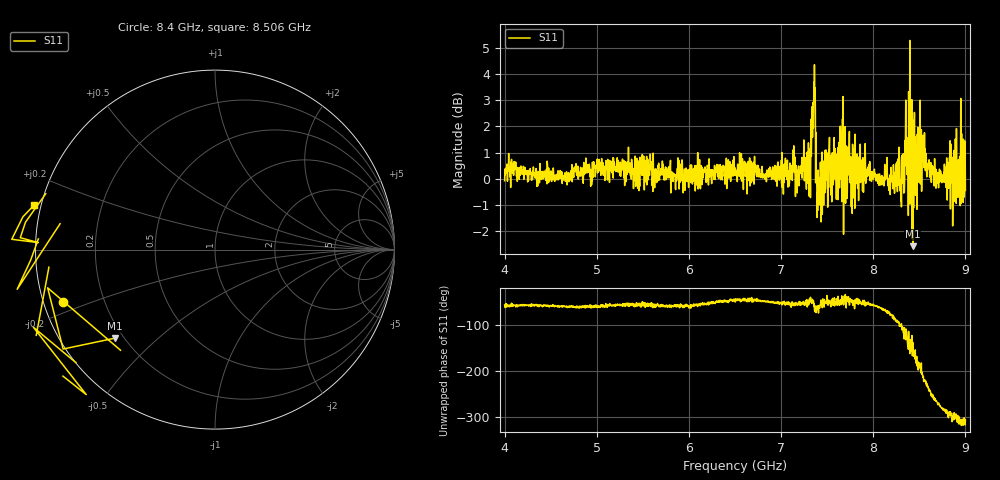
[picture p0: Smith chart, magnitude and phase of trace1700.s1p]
! Created with skrf 1.8.0 (http://scikit-rf.org).
# Hz S RI R 50.0
!freq ReS11 ImS11
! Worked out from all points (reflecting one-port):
!   1601 points, 4 GHz to 9 GHz, reference 50 ohm
!   lowest |S11| = -2.6 dB at 8.431 GHz (marker M1), VSWR 6.82, Z = 8.35 - j18.5 ohm
!   phase of S11 starts at -57 deg and turns -250 deg over the sweep
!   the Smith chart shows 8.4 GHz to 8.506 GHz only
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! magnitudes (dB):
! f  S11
! 4 GHz  -0.1
! 4.1 GHz  0.2
! 4.625 GHz  -0.2
! 5.25 GHz  0.1
! 5.875 GHz  0.4
! 6.5 GHz  0.2
! 7.125 GHz  0.3
! 7.297 GHz  1.4
! 7.328 GHz  0.9
! 7.347 GHz  2.9
! 7.362 GHz  4.3
! 7.397 GHz  -1.2
! 7.416 GHz  -1.0
! 7.509 GHz  -0.4
! 7.609 GHz  0.4
! 7.669 GHz  1.9
! 7.703 GHz  1.2
! 7.75 GHz  -0.2
! 8.316 GHz  0.5
! 8.334 GHz  -0.5
! 8.356 GHz  0.5
! 8.375 GHz  1.1
! 8.431 GHz  -2.6
! 8.534 GHz  1.2
! 8.638 GHz  0.5
! 8.731 GHz  0.3
! 8.972 GHz  0.1
! 9 GHz  -0.4
